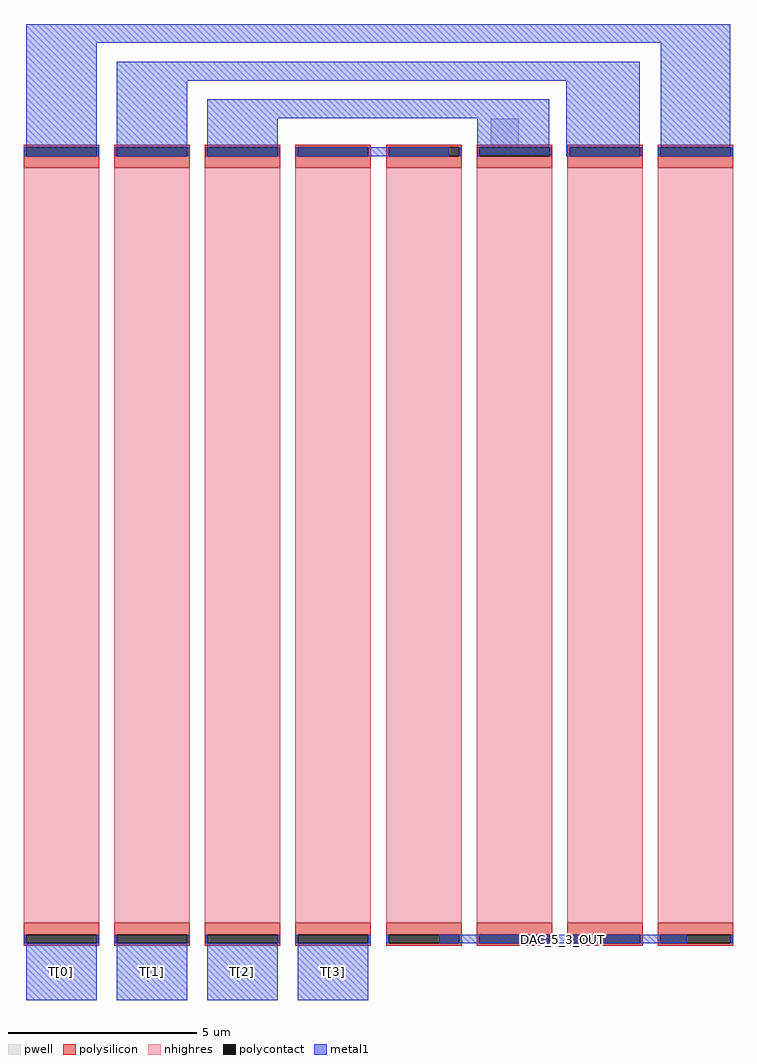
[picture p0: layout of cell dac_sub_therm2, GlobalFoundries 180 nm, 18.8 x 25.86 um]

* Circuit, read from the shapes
.subckt dac_sub_therm2 T[0] T[1] T[2] T[3] DAC_5_3_OUT
XR1 n1 T[0] VSUBS ppolyf_u_1k r_width=2u r_length=20u
XR2 n2 T[1] VSUBS ppolyf_u_1k r_width=2u r_length=20u
XR3 n3 T[2] VSUBS ppolyf_u_1k r_width=2u r_length=20u
XR4 n4 T[3] VSUBS ppolyf_u_1k r_width=2u r_length=20u
XR5 n4 DAC_5_3_OUT VSUBS ppolyf_u_1k r_width=2u r_length=20u
XR6 n3 DAC_5_3_OUT VSUBS ppolyf_u_1k r_width=2u r_length=20u
XR7 n2 DAC_5_3_OUT VSUBS ppolyf_u_1k r_width=2u r_length=20u
XR8 n1 DAC_5_3_OUT VSUBS ppolyf_u_1k r_width=2u r_length=20u
.ends

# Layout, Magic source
magic
tech gf180mcuD
magscale 1 10
<< pwell >>
rect 2650 4410 2800 4560
<< metal1 >>
rect 189 4962 3919 5061
rect 189 4961 2689 4962
rect 189 4361 563 4961
rect 669 4761 3440 4861
rect 669 4361 1043 4761
rect 1149 4561 2960 4661
rect 1149 4361 1523 4561
rect 1629 4361 2429 4407
rect 2580 4370 2960 4561
rect 3050 4360 3440 4761
rect 3551 4361 3919 4962
rect 2378 189 3689 235
rect 189 -111 563 189
rect 669 -111 1043 189
rect 1149 -111 1523 189
rect 1629 -111 2003 189
use ppolyf_u_1k_9D8AQZ  ppolyf_u_1k_9D8AQZ_0
transform 1 0 2056 0 1 2298
box -1880 -2122 1880 2122
<< labels >>
flabel metal1 189 -111 563 189 0 FreeSans 1600 0 0 0 T[0]
port 1 nsew
flabel metal1 669 -111 1043 189 0 FreeSans 1600 0 0 0 T[1]
port 2 nsew
flabel metal1 1149 -111 1523 189 0 FreeSans 1600 0 0 0 T[2]
port 4 nsew
flabel metal1 1629 -111 2003 189 0 FreeSans 1600 0 0 0 T[3]
port 5 nsew
flabel metal1 2378 189 3689 235 0 FreeSans 800 0 0 0 DAC_5_3_OUT
port 7 nsew
<< end >>

# cell ppolyf_u_1k_9D8AQZ: kit device ppolyf_u_1k, w 2 l 20 m 1 nx 8 wmin 1.000 lmin 1.000 class resistor rho 1000 val 10.0k dummy 0 dw 0.0 term 0.0 sterm 0.0 caplen 0.4 snake 0 glc 0 grc 0 gtc 0 gbc 0 roverlap 0 endcov 100 full_metal 0 compatible {ppolyf_u_1k ppolyf_u_1k_6p0}
